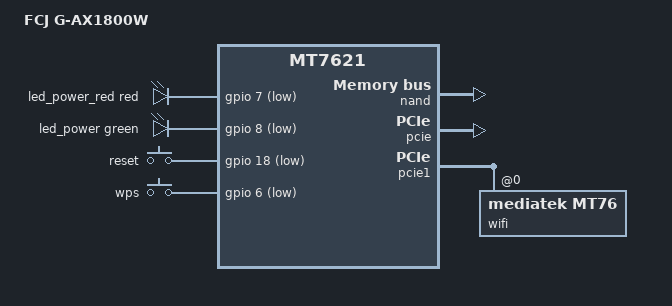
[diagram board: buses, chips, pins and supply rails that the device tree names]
// SPDX-License-Identifier: GPL-2.0-or-later OR MIT
//
// FCJ G-AX1800W (烽火 FCJ) — MT7621 + single MT7915E (PCIe, AX1800 DBDC)
// Port from Padavan 4.4 DTS for OpenWrt v24.10.8 / kernel 6.6.144.
// Board reference: stage1-kernel6/board-analysis.md §4.

#include "mt7621.dtsi"

#include <dt-bindings/gpio/gpio.h>
#include <dt-bindings/input/input.h>
#include <dt-bindings/leds/common.h>

/ {
	compatible = "fcj,fcj-g-ax1800w", "mediatek,mt7621-soc";
	model = "FCJ G-AX1800W";

	aliases {
		led-boot = &led_power;
		led-failsafe = &led_power_red;
		led-running = &led_power;
		led-upgrade = &led_power;
		label-mac-device = <&gmac0>;
	};

	chosen {
		/* 4.4 bootargs = "console=ttyS0,115200" (NO root=) and relied on
		 * CONFIG_MTD_ROOTFS_ROOT_DEV + mtdsplit_uimage to auto-split the
		 * `firmware` partition into "kernel"+"rootfs" and set rootfs as root.
		 * R2: wired mtdsplit Kconfig/Makefile into the 6.6 tree and enabled
		 * MTD_ROOTFS_ROOT_DEV/MTD_SPLIT_UIMAGE_FW/MTD_SPLIT_SQUASHFS_ROOT, so
		 * we mirror 4.4: NO root= (an explicit root=/dev/mtdblockN would set
		 * ROOT_DEV!=0 and disable the mtdcore.c auto-rootfs selection). */
		bootargs = "console=ttyS0,115200 rootfstype=squashfs";
	};

	leds {
		compatible = "gpio-leds";

		/* power_red = gpio7, active low (4.4 dts:19-22) */
		led_power_red: power_red {
			color = <LED_COLOR_ID_RED>;
			function = LED_FUNCTION_POWER;
			gpios = <&gpio 7 GPIO_ACTIVE_LOW>;
		};

		/* power(green) = gpio8, active low (4.4 dts:24-27) */
		led_power: power {
			color = <LED_COLOR_ID_GREEN>;
			function = LED_FUNCTION_POWER;
			gpios = <&gpio 8 GPIO_ACTIVE_LOW>;
		};
	};

	keys {
		compatible = "gpio-keys";

		/* reset = gpio18, KEY_RESTART (4.4 dts:36-40) */
		reset {
			label = "reset";
			gpios = <&gpio 18 GPIO_ACTIVE_LOW>;
			linux,code = <KEY_RESTART>;
		};

		/* wps = gpio6, KEY_WPS_BUTTON (4.4 dts:42-46) */
		wps {
			label = "wps";
			gpios = <&gpio 6 GPIO_ACTIVE_LOW>;
			linux,code = <KEY_WPS_BUTTON>;
		};
	};
};

/*
 * Raw NAND (MT7621 NFC + HW ECC). 6.6 nand node does NOT reference
 * nand_pins, so the 4.4 sdhci-nand-only pinctrl override is NOT needed
 * (board-analysis §4.4 / §5). Do not add any nand pinctrl override.
 */
&nand {
	status = "okay";

	mediatek,nmbm;

	partitions {
		compatible = "fixed-partitions";
		#address-cells = <1>;
		#size-cells = <1>;

		partition@0 {
			label = "Bootloader";
			reg = <0x000000 0x80000>;
			read-only;
		};

		partition@80000 {
			label = "CFG_Bdata";
			reg = <0x080000 0x80000>;
		};

		/* Factory: holds MT7915 eeprom/precal + MAC.
		 * nvmem offsets are MediaTek-generic LAYOUT ONLY —
		 * TODO(on-board): verify against a real Factory dump
		 * (l1profile says eeprom range 0x0..0x20000). */
		partition@100000 {
			label = "Factory";
			reg = <0x100000 0x80000>;
			read-only;

			nvmem-layout {
				compatible = "fixed-layout";
				#address-cells = <1>;
				#size-cells = <1>;

				/* TODO(offset on-board): eeprom@0 */
				eeprom: eeprom@0 {
					reg = <0x0 0xe00>;
				};

				/* TODO(offset on-board): macaddr@4 */
				macaddr_factory: macaddr@4 {
					reg = <0x4 0x6>;
				};

				/* TODO(offset on-board): precal@e10 */
				precal: precal@e10 {
					reg = <0xe10 0x19c10>;
				};
			};
		};

		partition@180000 {
			label = "Crash";
			reg = <0x180000 0x80000>;
		};

		partition@200000 {
			label = "kernel_stock";
			reg = <0x200000 0x400000>;
		};

		/* OpenWrt firmware area: split nested kernel + ubi.
		 * firmware 0x600000 size 0x1400000 (20M). */
		partition@600000 {
			label = "firmware";
			reg = <0x600000 0x1400000>;

			compatible = "fixed-partitions";
			#address-cells = <1>;
			#size-cells = <1>;

			partition@0 {
				label = "kernel";
				reg = <0x0 0x400000>;
			};

			partition@400000 {
				label = "ubi";
				reg = <0x400000 0x1000000>;
			};
		};

		partition@1a00000 {
			label = "Config";
			reg = <0x1a00000 0x80000>;
		};

		partition@1a80000 {
			label = "Storage";
			reg = <0x1a80000 0x400000>;
		};

		partition@1e80000 {
			label = "RWFS";
			reg = <0x1e80000 0x6100000>;
		};

		/* Whole-chip partition (Padavan 4.4 legacy layout).
		 * Intentionally overlaps all above; kept for flash tools.
		 * Node renamed from partition@0 to avoid dtc duplicate-node
		 * (Bootloader also starts at 0x0). */
		all {
			label = "ALL";
			reg = <0x0 0x7f80000>;
		};
	};
};

/* PCIe host bridge: MT7915 Wi-Fi sits behind it. */
&pcie {
	status = "okay";
};

/* TODO(on-board): verify MT7915 is on pcie1 (both reference boards use pcie1);
 * if Wi-Fi does not enumerate, retarget to &pcie0. */
&pcie1 {
	wifi@0,0 {
		compatible = "mediatek,mt76";
		reg = <0x0000 0 0 0 0>;
		nvmem-cells = <&eeprom>, <&precal>;
		nvmem-cell-names = "eeprom", "precal";
	};
};

/*
 * Ethernet / DSA topology: all user ports are on the internal mt7530 switch.
 * gmac0 --fixed-link--> switch0 port@6 (CPU port, built into dtsi).
 * gmac1 stays disabled (no external RGMII PHY on this board).
 */
&gmac0 {
	nvmem-cells = <&macaddr_factory>;
	nvmem-cell-names = "mac-address";
};

&gmac1 {
	status = "disabled";
};

&switch0 {
	ports {
		port@0 {
			status = "okay";
			label = "wan";
		};

		port@1 {
			status = "okay";
			label = "lan1";
		};

		port@2 {
			status = "okay";
			label = "lan2";
		};

		port@3 {
			status = "okay";
			label = "lan3";
		};

		port@4 {
			status = "okay";
			label = "lan4";
		};
	};
};

/* No USB ports on this board. */
&xhci {
	status = "disabled";
};

/* mux i2c/uart2/uart3/jtag/wdt to GPIO (4.4 mt7621-pinctrl-default-gpio). */
&state_default {
	gpio {
		groups = "i2c", "uart2", "uart3", "jtag", "wdt";
		function = "gpio";
	};
};
